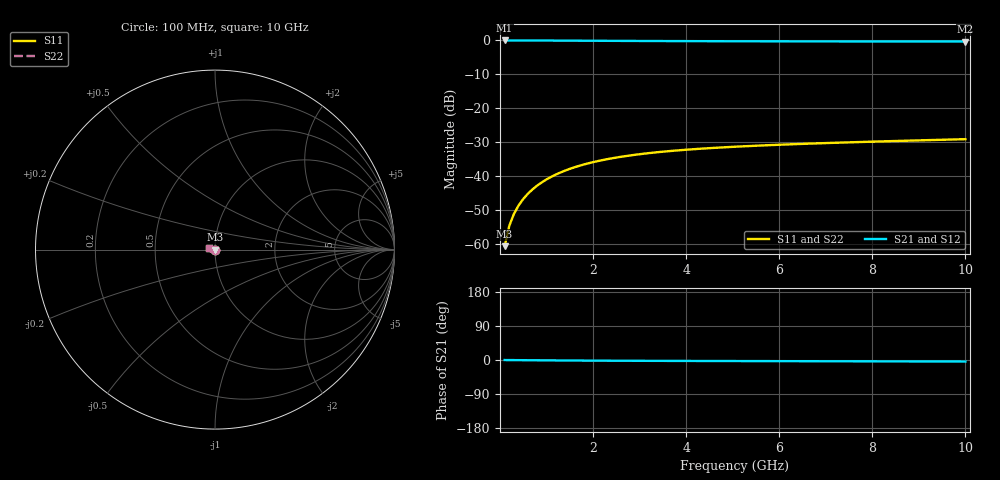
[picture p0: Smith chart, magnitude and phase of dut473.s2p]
! Touchstone file exported from HFSS 2024.1.0
!  File:  C:/UserFiles/LocalFiles/RDL_TSV_Batchsim/temp_TSV1_473_1779698652.aedt
!  Generated:  04:49:40 PM May 25, 2026
!  Design:  TSV1
!  Project:  temp_TSV1_473_1779698652
!  Setup:  Setup1
!  Solution:  Sweep
! Variables:
!  dtsv = 10.71um
!  hbump = 3um
!  htsv = 59.66um
!  lrdl = 252.1521522um
!  p = 40
!  p1 = 57.59um
!  t = 500um
!  trdl = 3um
!  wrdl = 24.89489489um
# GHz S MA R 50.000000
! Terminal data exported
! Port[1] = TSV22_T1
! Port[2] = TSV22_T2
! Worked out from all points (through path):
!   100 points, 100 MHz to 10 GHz, reference 50 ohm
!   highest |S21| = 0.00 dB at 100 MHz (marker M1); lowest = -0.3 dB at 10 GHz (marker M2)
!   lowest |S11| = -60.6 dB at 100 MHz (marker M3), VSWR 1.00, Z = 50 - j0.0932 ohm
!   |S11| at or under -10 dB: start of sweep to end of sweep
!   |S22| runs from -60.6 to -29.1 dB; largest |S21 - S12| = 1.7e-14
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0.1  0.0009341 -85.6  0.9999 -0.1  0.9999 -0.1  0.0009341 -85.6
! Gamma 0 0 0 0
! Port Impedance 50 0 50 0
0.2  0.00186 -90.8  0.9997 -0.2  0.9997 -0.2  0.00186 -90.8
0.3  0.002787 -93.9  0.9996 -0.3  0.9996 -0.3  0.002787 -93.9
0.4  0.00371 -96.5  0.9993 -0.4  0.9993 -0.4  0.00371 -96.5
0.5  0.004624 -98.9  0.999 -0.5  0.999 -0.5  0.004624 -98.9
0.6  0.005527 -101.2  0.9986 -0.6  0.9986 -0.6  0.005527 -101.2
0.7  0.006416 -103.4  0.9982 -0.7  0.9982 -0.7  0.006416 -103.4
0.8  0.007289 -105.6  0.9977 -0.8  0.9977 -0.8  0.007289 -105.6
0.9  0.008144 -107.7  0.9972 -0.9  0.9972 -0.9  0.008144 -107.7
1.1  0.009795 -111.7  0.996 -1.0  0.996 -1.0  0.009795 -111.7
1.4  0.01211 -117.5  0.994 -1.3  0.994 -1.3  0.01211 -117.5
1.6  0.01354 -121.2  0.9926 -1.4  0.9926 -1.4  0.01354 -121.2
1.8  0.01488 -124.7  0.9912 -1.5  0.9912 -1.5  0.01488 -124.7
2.1  0.01671 -129.7  0.989 -1.7  0.989 -1.7  0.01671 -129.7
2.5  0.01886 -135.8  0.9861 -1.9  0.9861 -1.9  0.01886 -135.8
2.9  0.0207 -141.4  0.9834 -2.1  0.9834 -2.1  0.0207 -141.4
3.4  0.02265 -147.6  0.9804 -2.3  0.9804 -2.3  0.02265 -147.6
4.2  0.02514 -156.3  0.9764 -2.5  0.9764 -2.5  0.02514 -156.3
5.1  0.02732 -164.6  0.9729 -2.8  0.9729 -2.8  0.02732 -164.6
6.7  0.03031 -176.6  0.9687 -3.2  0.9687 -3.2  0.03031 -176.6
8.4  0.03291 173.2  0.9658 -3.7  0.9658 -3.7  0.03291 173.2
10  0.03516 165.2  0.9639 -4.1  0.9639 -4.1  0.03516 165.2
